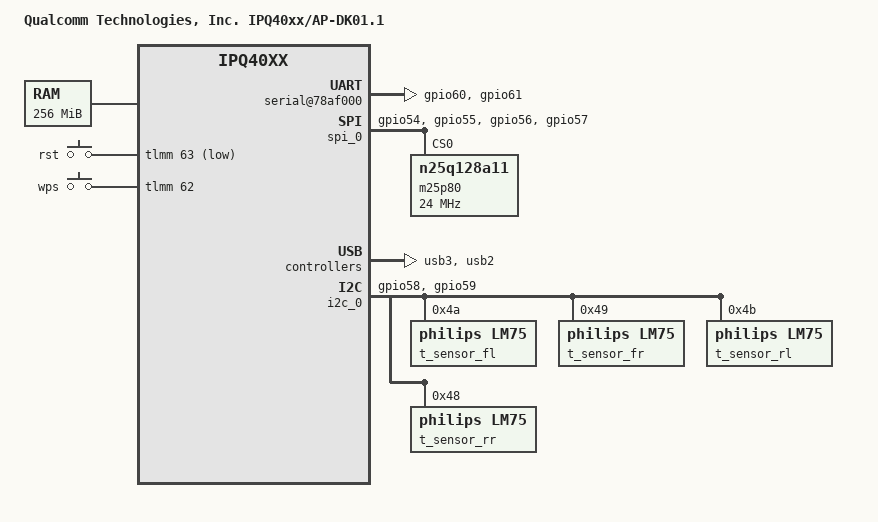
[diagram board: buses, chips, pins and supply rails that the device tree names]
/* Copyright (c) 2015, The Linux Foundation. All rights reserved.
 *
 * Permission to use, copy, modify, and/or distribute this software for any
 * purpose with or without fee is hereby granted, provided that the above
 * copyright notice and this permission notice appear in all copies.
 *
 * THE SOFTWARE IS PROVIDED "AS IS" AND THE AUTHOR DISCLAIMS ALL WARRANTIES
 * WITH REGARD TO THIS SOFTWARE INCLUDING ALL IMPLIED WARRANTIES OF
 * MERCHANTABILITY AND FITNESS. IN NO EVENT SHALL THE AUTHOR BE LIABLE FOR
 * ANY SPECIAL, DIRECT, INDIRECT, OR CONSEQUENTIAL DAMAGES OR ANY DAMAGES
 * WHATSOEVER RESULTING FROM LOSS OF USE, DATA OR PROFITS, WHETHER IN AN
 * ACTION OF CONTRACT, NEGLIGENCE OR OTHER TORTIOUS ACTION, ARISING OUT OF
 * OR IN CONNECTION WITH THE USE OR PERFORMANCE OF THIS SOFTWARE.
 *
 */

#include "qcom-ipq40xx.dtsi"
#include <dt-bindings/input/input.h>
#include <dt-bindings/gpio/gpio.h>

/ {
	model = "Qualcomm Technologies, Inc. IPQ40xx/AP-DK01.1";
	compatible = "qcom,ipq40xx-apdk01.1", "qcom,ipq40xx";

	memory {
		device_type = "memory";
		reg = <0x80000000 0x10000000>; /* 256MB */
	};

	reserved-memory {
		#address-cells = <1>;
		#size-cells = <1>;
		ranges;
		rsvd1@87000000 {
			/* Reserved for other subsystem */
			reg = <0x87000000 0x500000>;
			no-map;
		};
		wifi_dump@87500000 {
			reg = <0x87500000 0x600000>;
			no-map;
		};
		rsvd2@87B00000 {
			/* Reserved for other subsystem */
			reg = <0x87B00000 0x500000>;
			no-map;
		};
	};

	chosen {
		bootargs-append = " clk_ignore_unused";
	};

};
	&soc {
		pinctrl@0x01000000 {
			mdio_pins: mdio_pinmux {
				mux_1 {
					pins = "gpio53";
					function = "mdio1";
					bias-bus-hold;
				};
				mux_2 {
					pins = "gpio52";
					function = "mdc";
					bias-bus-hold;
				};
			};

			serial_pins: serial_pinmux {
				mux {
					pins = "gpio60", "gpio61";
					function = "blsp_uart0";
					bias-disable;
				};
			};

			spi_0_pins: spi_0_pinmux {
				mux {
					pins = "gpio54", "gpio55", "gpio56", "gpio57";
					function = "blsp_spi0";
					bias-disable;
				};
			};
			i2c_0_pins: i2c_0_pinmux {
				mux {
					pins = "gpio58", "gpio59";
					function = "blsp_i2c0";
					bias-disable;
				};
			};
			keys_pins: keys_pinmux {
				/* In ipq40xx, gpio config 0x2 corresponds to
				 * internal pull up. In pinctrl driver,
				 * bias-bus-hold corresponds to 0x2 */
				mux {
					pins = "gpio63";
					bias-bus-hold;
				};
				mux_wps {
					pins = "gpio62";
					function = "gpio";
					bias-bus-hold;
				};
			};
			
			gpio_led_pins: gpio_led_pinmux {
				ap_status {
					pins = "gpio0";
					output-low;
				};
/*
				wlan24 {
					pins = "gpio1";
					output-low;
				};
				wlan5 {
					pins = "gpio2";
                    output-low;
				};
*/
				lan1 {
					pins = "gpio4";
                    output-low;
				};
				lan2 {
					pins = "gpio5";
					output-low;
				};
			
			};
		};

		serial@78af000 {
			pinctrl-0 = <&serial_pins>;
			pinctrl-names = "default";
			status = "ok";
		};

		spi_0: spi@78b5000 { /* BLSP1 QUP1 */
			pinctrl-0 = <&spi_0_pins>;
			pinctrl-names = "default";
			status = "ok";

			m25p80@0 {
				#address-cells = <1>;
				#size-cells = <1>;
				compatible = "n25q128a11";
				reg = <0>;
				linux,modalias = "m25p80", "n25q128a11";
				spi-max-frequency = <24000000>;
				use-default-sizes;
			};
		};

		tcsr: tcsr@194b000 {
			status = "ok";
		};

		usb3_ss_phy: ssphy@0 {
			status = "ok";
		};

		dummy_ss_phy: ssphy@1 {
			status = "ok";
		};

		usb3_hs_phy: hsphy@a6000 {
			status = "ok";
		};

		usb2_hs_phy: hsphy@a8000 {
			status = "ok";
		};

		usb3: usb3@8a00000 {
			status = "ok";
		};

		usb2: usb2@6000000 {
			status = "ok";
		};

		qcom_crypto: qcrypto@8e20000 {
			status = "ok";
		};

		qcom_cedev: qcedev@8e20000 {
			status = "ok";
		};

		ess-switch@c000000 {
			switch_mac_mode = <0x0>; /* mac mode for RGMII RMII */
			switch_initvlas = <
				0x0007c 0x54 /* PORT0_STATUS */
			>;
		};
		i2c_0: i2c@78b7000 { /* BLSP1 QUP2 */
			pinctrl-0 = <&i2c_0_pins>;
			pinctrl-1 = <&i2c_0_pins>;
			pinctrl-names = "i2c_active", "i2c_sleep";
			status = "ok";

			t_sensor_fl: lm75@4a{
				compatible = "philips,lm75";
				reg = <0x4a>;
				status = "ok";
			};
			t_sensor_fr: lm75@49{
				compatible = "philips,lm75";
				reg = <0x49>;
				status = "ok";
			};
			t_sensor_rl: lm75@4b{
				compatible = "philips,lm75";
				reg = <0x4b>;
				status = "ok";
			};
			t_sensor_rr: lm75@48{
				compatible = "philips,lm75";
				reg = <0x48>;
				status = "ok";
			};

		};
		gpio_keys {
			pinctrl-0 = <&keys_pins>;
			pinctrl-names = "default";
			compatible = "gpio-keys";

			button@1 {
				label = "rst";
				linux,code = <KEY_RESTART>;
				gpios = <&tlmm 63 GPIO_ACTIVE_LOW>;
				linux,input-type = <1>;
			};
			button@2 {
				label = "wps";
				linux,code = <KEY_WPS_BUTTON>;
				gpios = <&tlmm 62 GPIO_ACTIVE_HIGH>;
				linux,input-type = <1>;
			};
			
		};
		
		gpio_led {
			pinctrl-0 = <&gpio_led_pins>;
			pinctrl-names = "default";
			status = "ok";
		};
		
		wifi0: wifi@a000000 {
			wifi-led-gpios = <&tlmm 1 GPIO_ACTIVE_LOW>;
		};

		wifi1: wifi@a800000 {
			wifi-led-gpios = <&tlmm 2 GPIO_ACTIVE_LOW>;
		};

	};
